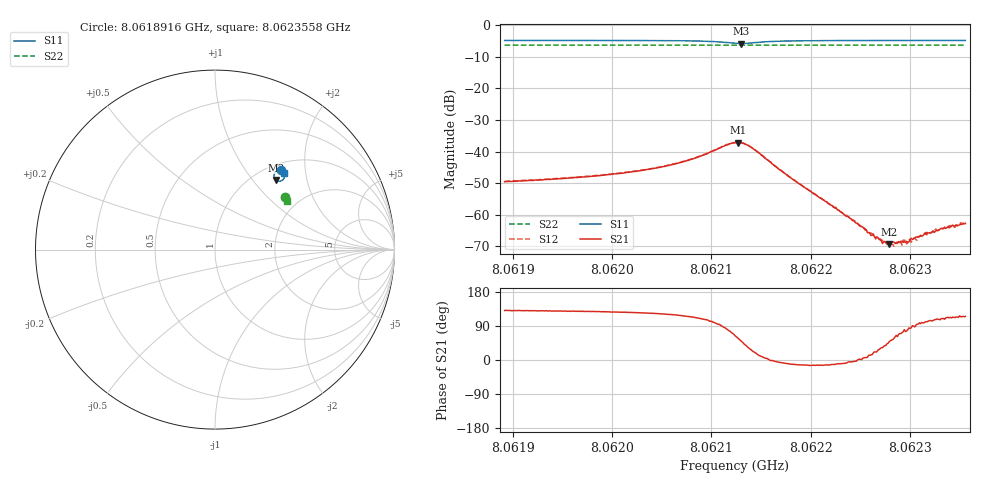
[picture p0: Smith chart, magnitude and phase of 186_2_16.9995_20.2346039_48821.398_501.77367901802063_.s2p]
#  HZ  S  RI  R  50.00
! Rohde & Schwarz Vector Network Analyzer
! Rohde-Schwarz,ZNB20-2Port,1311601062101988,3.16
! Created: UTC 3/20/2024, 11:00:22 PM
! freq[Hz]  re:S11  im:S11  re:S21  im:S21  re:S12  im:S12  re:S22  im:S22
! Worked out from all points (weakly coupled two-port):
!   401 points, 8.0618916 GHz to 8.0623558 GHz, reference 50 ohm
!   highest |S21| = -37.14 dB at 8.0621272 GHz (marker M1); lowest = -69.2 dB at 8.0622792 GHz (marker M2)
!   lowest |S11| = -5.8 dB at 8.0621295 GHz (marker M3), VSWR 3.12, Z = 62.6 + j66 ohm
!   |S11| at or under -10 dB: nowhere
!   |S22| runs from -6.3 to -6.3 dB; largest |S21 - S12| = 0.001
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8.06189165e9  0.3695 0.4417  -0.00216 0.00252  -0.00208 0.00269  0.3874 0.2938
8.0619694e9  0.3755 0.4358  -0.00243 0.0031  -0.00228 0.00326  0.3901 0.29
8.06201002e9  0.3793 0.4314  -0.00266 0.00365  -0.00249 0.00388  0.3915 0.2879
8.06204715e9  0.3834 0.4252  -0.00297 0.00475  -0.00272 0.00496  0.3927 0.2856
8.06208197e9  0.387 0.4129  -0.00301 0.00709  -0.0026 0.00738  0.3938 0.2836
8.06212374e9  0.3528 0.381  0.00599 0.0124  0.00677 0.0122  0.3932 0.2808
8.06212722e9  0.3442 0.384  0.00765 0.0116  0.00853 0.0111  0.393 0.2809
8.06212955e9  0.3391 0.3873  0.00864 0.0107  0.00949 0.0102  0.3928 0.2811
8.06214115e9  0.3285 0.4126  0.0103 0.00462  0.0107 0.00409  0.3932 0.2819
8.0621748e9  0.3539 0.4392  0.00435 -0.000681  0.00432 -0.000991  0.3958 0.281
8.06220149e9  0.3653 0.4387  0.00217 -0.000547  0.00219 -0.000693  0.3969 0.2795
8.06224095e9  0.3737 0.4355  0.000844 -7.54e-05  0.000848 -0.000145  0.3986 0.2774
8.06225952e9  0.3763 0.4342  0.000495 0.000112  0.000508 7.73e-05  0.3992 0.2766
8.06227112e9  0.3777 0.4333  0.000328 0.000208  0.000366 0.000168  0.3995 0.276
8.06227925e9  0.3787 0.4327  0.000227 0.00026  0.000252 0.000255  0.4 0.2754
8.06228505e9  0.3794 0.4322  0.00017 0.000305  0.000187 0.000281  0.4002 0.2752
8.06229665e9  0.3806 0.4314  8.53e-05 0.000365  5.36e-05 0.00034  0.4007 0.2746
8.06229897e9  0.3807 0.4313  3.41e-05 0.000368  3.58e-05 0.000402  0.4007 0.2746
8.06231406e9  0.3819 0.4303  -6.76e-05 0.000479  -7.01e-05 0.000492  0.401 0.2737
8.06233263e9  0.3837 0.4291  -0.000193 0.000565  -0.000189 0.000576  0.4019 0.2727
8.06234423e9  0.3847 0.4284  -0.000249 0.000607  -0.000211 0.000595  0.4022 0.2722
8.06235584e9  0.3856 0.4277  -0.000308 0.000652  -0.000305 0.000699  0.4026 0.2715
